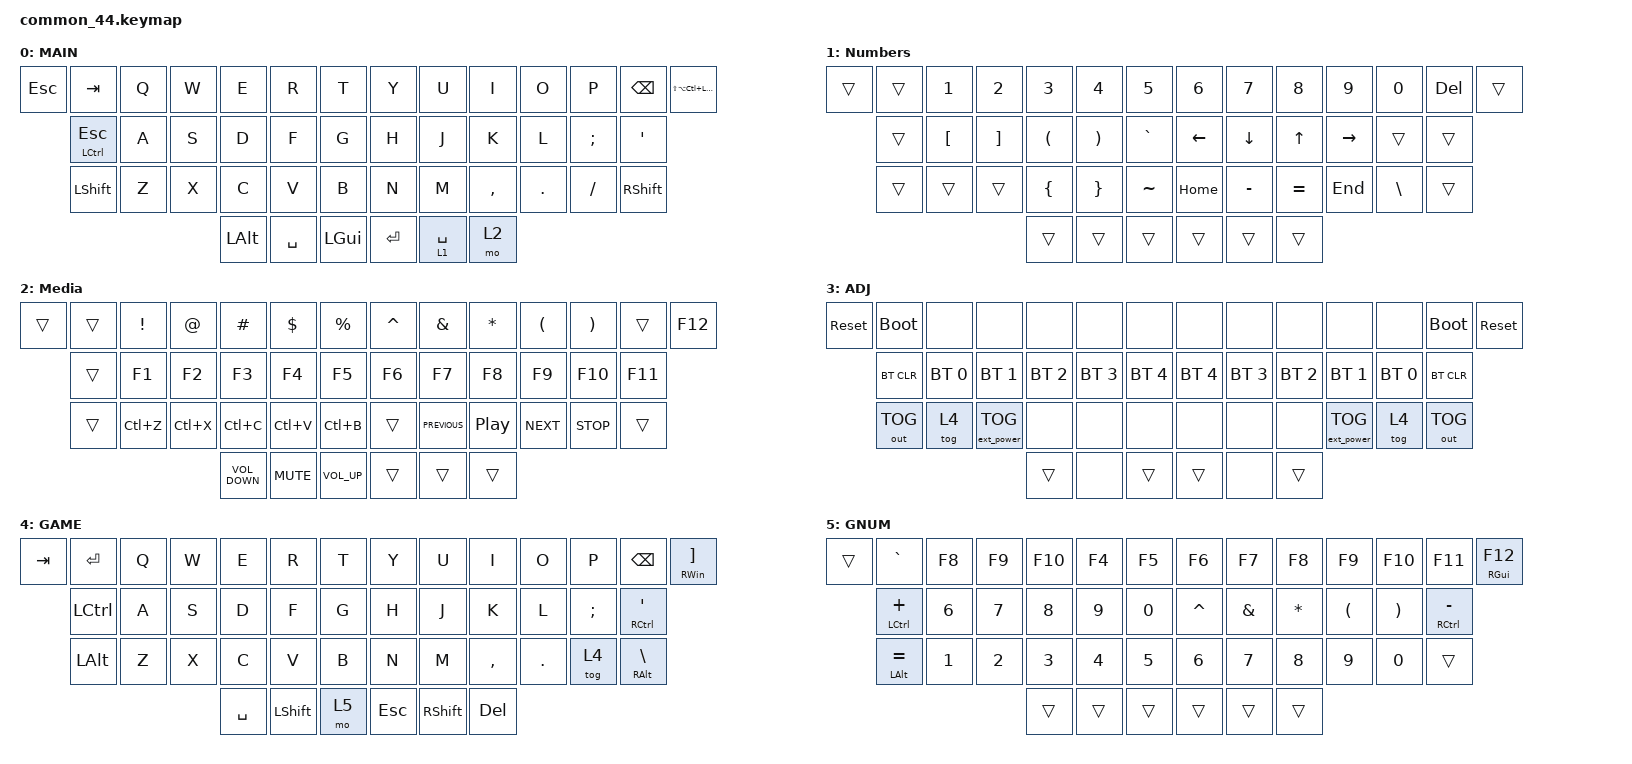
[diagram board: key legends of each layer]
/*
 * Copyright (c) 2020 The ZMK Contributors
 *
 * SPDX-License-Identifier: MIT
 */

#include <behaviors.dtsi>
#include <dt-bindings/zmk/bt.h>
#include <dt-bindings/zmk/ext_power.h>
#include <dt-bindings/zmk/keys.h>
#include <dt-bindings/zmk/outputs.h>

#define DEF 0
#define LWR 1
#define lower_layer LWR
#define RSE 2
#define raise_layer RSE
#define ADJ 3
#define adjust_layer ADJ
#define GME 4
#define GLR 5

&lt {
    quick-tap-ms = <175>;
    flavor = "tap-preferred";
    tapping-term-ms = <250>;
    require-prior-idle-ms = <150>;
};

&mt {
    quick-tap-ms = <150>;
    tapping-term-ms = <220>;
    require-prior-idle-ms = <150>;
    flavor = "balanced";
};

/ {
    combos {
        compatible = "zmk,combos";

        BSP {
            bindings = <&kp BACKSPACE>;
            key-positions = <11 12>;
        };

        adj-left {
            bindings = <&mo 3>;
            key-positions = <5 6>;
        };

        adj-right {
            bindings = <&mo 3>;
            key-positions = <7 8>;
        };
    };

    macros {
        lang: lang {
            compatible = "zmk,behavior-macro";
            #binding-cells = <0>;
            bindings =
                <&macro_press>,
                <&kp LCTRL>,
                <&macro_tap>,
                <&kp SPACE>,
                <&macro_release>,
                <&kp LCTRL>;

            label = "LANG";
        };
    };

    behaviors {
        LT2Lang: LT2Lang {
            compatible = "zmk,behavior-hold-tap";
            label = "LT2LANG";
            bindings = <&lt>, <&lang>;

            #binding-cells = <2>;
            tapping-term-ms = <150>;
            flavor = "balanced";
            hold-trigger-key-positions = <38>;
        };

        lt2esclang: lt2esclang {
            compatible = "zmk,behavior-tap-dance";
            label = "LT2ESCLANG";
            #binding-cells = <0>;
            bindings = <&lt 2 ESCAPE>, <&lang>;
        };
    };

    keymap {
        compatible = "zmk,keymap";

        default_layer {
            label = "MAIN";

            // -----------------------------------------------------------------------------------------
            // |  GUI |   ~  |  Q  |  W  |  E  |  R  |  T  |   |  Y  |  U   |  I  |  O  |  P  |  [   | GUI/] |
            //        | CTRL |  A  |  S  |  D  |  F  |  G  |   |  H  |  J   |  K  |  L  |  ;  |CTRL/'|
            //        | LALT |  Z  |  X  |  C  |  V  |  B  |   |  N  |  M   |  ,  |  .  |  /  | RALT |
            //                           | RSE | SPC | LWR |   | LWR | BKSP | RSE |

            bindings = <
&kp ESCAPE  &kp TAB         &kp Q  &kp W  &kp E         &kp R      &kp T       &kp Y      &kp U        &kp I      &kp O    &kp P     &kp BSPC         &kp LS(LA(LC(LEFT_GUI)))
            &mt LCTRL ESC   &kp A  &kp S  &kp D         &kp F      &kp G       &kp H      &kp J        &kp K      &kp L    &kp SEMI  &kp SQT
            &kp LEFT_SHIFT  &kp Z  &kp X  &kp C         &kp V      &kp B       &kp N      &kp M        &kp COMMA  &kp DOT  &kp FSLH  &kp RIGHT_SHIFT
                                          &kp LEFT_ALT  &kp SPACE  &kp LGUI    &kp ENTER  &lt 1 SPACE  &mo 2
            >;
        };

        lower_layer {
            label = "Numbers";

            // -----------------------------------------------------------------------------------------
            // |     |  _  |  F1 |  F2 |  F3 |  F4 |  F5 |   |  F6 |  F7 |  F8 |  F9 | F10 | F11 | F12 |
            //       |  +  |  !  |  @  |  #  |  $  |  %  |   |  ^  |  &  |  *  |  (  |  )  |  -  |
            //       |  =  |  1  |  2  |  3  |  4  |  5  |   |  6  |  7  |  8  |  9  |  0  |     |
            //                    | GUI |     | SPC |   | ENT |     | ALT |

            bindings = <
&trans  &trans  &kp NUMBER_1      &kp NUMBER_2       &kp NUMBER_3          &kp N4                 &kp NUMBER_5    &kp NUMBER_6  &kp NUMBER_7  &kp NUMBER_8  &kp NUMBER_9  &kp NUMBER_0   &kp DEL  &trans
        &trans  &kp LEFT_BRACKET  &kp RIGHT_BRACKET  &kp LEFT_PARENTHESIS  &kp RIGHT_PARENTHESIS  &kp GRAVE       &kp LEFT      &kp DOWN      &kp UP        &kp RIGHT     &trans         &trans
        &trans  &trans            &trans             &kp LEFT_BRACE        &kp RIGHT_BRACE        &kp TILDE       &kp HOME      &kp MINUS     &kp EQUAL     &kp END       &kp BACKSLASH  &trans
                                                     &trans                &trans                 &trans          &trans        &trans        &trans
            >;
        };

        raise_layer {
            label = "Media";

            // -----------------------------------------------------------------------------------------
            // |     | NMLK |  /  |  7  |  8  |  9  |  -  |   | VOLU| HOME| PRSC| PGUP| SCLK| CLCK|     |
            //       | CTRL |  *  |  4  |  5  |  6  |  +  |   | MUT | LEFT|  UP | RGHT| INS | APP |
            //       |      |  0  |  1  |  2  |  3  |  .  |   | VOLD| END | DOWN| PGDN| PAUS|     |
            //                          |     |     | ADJ |   | ADJ |     |     |

            bindings = <
&trans  &trans  &kp EXCLAMATION  &kp AT_SIGN  &kp HASH           &kp DOLLAR  &kp PERCENT        &kp CARET  &kp AMPERSAND   &kp ASTERISK      &kp LEFT_PARENTHESIS  &kp RIGHT_PARENTHESIS  &trans   &kp F12
        &trans  &kp F1           &kp F2       &kp F3             &kp F4      &kp F5             &kp F6     &kp F7          &kp F8            &kp F9                &kp F10                &kp F11
        &trans  &kp LC(Z)        &kp LC(X)    &kp LC(C)          &kp LC(V)   &kp LC(B)          &trans     &kp C_PREVIOUS  &kp C_PLAY_PAUSE  &kp C_NEXT            &kp C_STOP             &trans
                                              &kp C_VOLUME_DOWN  &kp C_MUTE  &kp C_VOLUME_UP    &trans     &trans          &trans
            >;
        };

        adjust_layer {
            label = "ADJ";

            // -----------------------------------------------------------------------------------------
            // | RST | BLDR |     |     |     |     |     |   |     |     |     |     |     | BLDR | RST |
            //       | BTCLR| BT0 | BT1 | BT2 | BT3 | BT4 |   | BT4 | BT3 | BT2 | BT1 | BT0 | BTCLR|
            //       |      |     |     |     |     |     |   |     |     |     |     |     |      |
            //                          |     |     |     |   |     |     |     |

            bindings = <
&sys_reset  &bootloader   &none         &none              &none         &none         &none           &none         &none         &none         &none              &none         &bootloader   &sys_reset
            &bt BT_CLR    &bt BT_SEL 0  &bt BT_SEL 1       &bt BT_SEL 2  &bt BT_SEL 3  &bt BT_SEL 4    &bt BT_SEL 4  &bt BT_SEL 3  &bt BT_SEL 2  &bt BT_SEL 1       &bt BT_SEL 0  &bt BT_CLR
            &out OUT_TOG  &tog 4        &ext_power EP_TOG  &none         &none         &none           &none         &none         &none         &ext_power EP_TOG  &tog 4        &out OUT_TOG
                                                           &trans        &none         &trans          &trans        &none         &trans
            >;
        };

        gaming_layer {
            label = "GAME";

            // -----------------------------------------------------------------------------------------
            // |  GUI |   ~  |  Q  |  W  |  E  |  R  |  T  |   |  Y  |  U   |  I  |  O  |  P  |  [   | GUI/] |
            //        | CTRL |  A  |  S  |  D  |  F  |  G  |   |  H  |  J   |  K  |  L  |  ;  |CTRL/'|
            //        | LALT |  Z  |  X  |  C  |  V  |  B  |   |  N  |  M   |  ,  |  .  |  /  | RALT |
            //                           | RSE | SPC | LWR |   | LWR | BKSP | RSE |

            bindings = <
&kp TAB  &kp RET    &kp Q  &kp W  &kp E      &kp R      &kp T    &kp Y    &kp U      &kp I      &kp O    &kp P     &kp BSPC       &mt RWIN RBKT
         &kp LCTRL  &kp A  &kp S  &kp D      &kp F      &kp G    &kp H    &kp J      &kp K      &kp L    &kp SEMI  &mt RCTRL SQT
         &kp LALT   &kp Z  &kp X  &kp C      &kp V      &kp B    &kp N    &kp M      &kp COMMA  &kp DOT  &tog 4    &mt RALT BSLH
                                  &kp SPACE  &kp LSHFT  &mo 5    &kp ESC  &kp RSHFT  &kp DEL
            >;
        };

        gaming_lower_layer {
            label = "GNUM";

            // -----------------------------------------------------------------------------------------
            // |     |  _  |  F1 |  F2 |  F3 |  F4 |  F5 |   |  F6 |  F7 |  F8 |  F9 | F10 | F11 | F12 |
            //       |  +  |  !  |  @  |  #  |  $  |  %  |   |  ^  |  &  |  *  |  (  |  )  |  -  |
            //       |  =  |  1  |  2  |  3  |  4  |  5  |   |  6  |  7  |  8  |  9  |  0  |     |
            //                    | GUI |     | SPC |   | ENT |     | ALT |

            bindings = <
&trans  &kp GRAVE       &kp F8  &kp F9  &kp F10  &kp F4  &kp F5    &kp F6     &kp F7    &kp F8    &kp F9    &kp F10   &kp F11          &mt RGUI F12
        &mt LCTRL PLUS  &kp N6  &kp N7  &kp N8   &kp N9  &kp N0    &kp CARET  &kp AMPS  &kp STAR  &kp LPAR  &kp RPAR  &mt RCTRL MINUS
        &mt LALT EQUAL  &kp N1  &kp N2  &kp N3   &kp N4  &kp N5    &kp N6     &kp N7    &kp N8    &kp N9    &kp N0    &trans
                                        &trans   &trans  &trans    &trans     &trans    &trans
            >;
        };
    };

    conditional_layers {
        compatible = "zmk,conditional-layers";

        adj {
            if-layers = <1 2>;
            then-layer = <3>;
        };
    };
};
